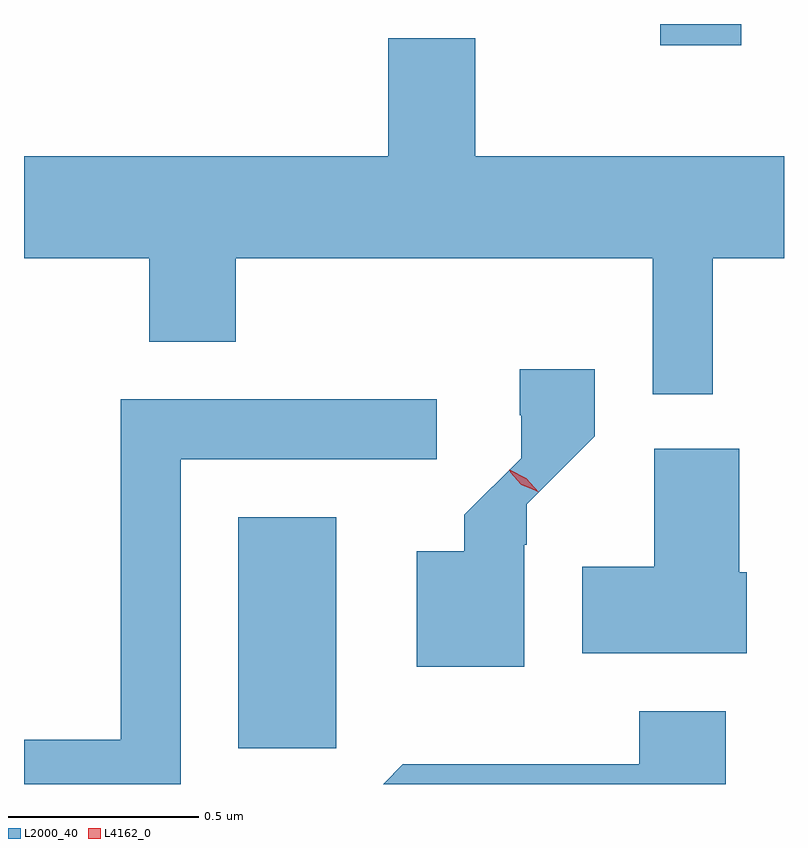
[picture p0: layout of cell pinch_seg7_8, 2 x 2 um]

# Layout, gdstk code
import gdstk
lib = gdstk.Library(unit=1e-6, precision=1e-09)
def R(c, l, rs):  # rectangles x0, y0, x1, y1
    for r in rs: c.add(gdstk.rectangle(r[:2], r[2:], *l))
def P(c, l, *ps):  # polygons
    for p in ps: c.add(gdstk.Polygon(p, *l))
L2000_40 = (2000, 40)
L4162_0 = (4162, 0)

pinch_seg7_8 = lib.new_cell('pinch_seg7_8')
R(pinch_seg7_8, L2000_40, [(1780.766,1781.846,1781.024,1782.454), (1781.876,1783.696,1782.089,1783.752)])
P(pinch_seg7_8, L2000_40, [(1782.014,1783.136),(1782.202,1783.136),(1782.202,1783.404),(1781.389,1783.404),(1781.389,1783.714),(1781.161,1783.714),(1781.161,1783.404),(1780.202,1783.404),(1780.202,1783.136),(1780.531,1783.136),(1780.531,1782.916),(1780.759,1782.916),(1780.759,1783.136),(1781.856,1783.136),(1781.856,1782.778),(1782.014,1782.778)],
  [(1781.519,1782.382),(1781.525,1782.382),(1781.525,1782.488),(1781.704,1782.667),(1781.704,1782.844),(1781.506,1782.844),(1781.506,1782.723),(1781.51,1782.723),(1781.51,1782.609),(1781.361,1782.46),(1781.361,1782.364),(1781.236,1782.364),(1781.236,1782.061),(1781.519,1782.061)],
  [(1780.614,1782.606),(1781.288,1782.606),(1781.288,1782.764),(1780.456,1782.764),(1780.456,1781.869),(1780.202,1781.869),(1780.202,1781.752),(1780.614,1781.752)],
  [(1782.104,1782.309),(1782.084,1782.309),(1782.084,1782.634),(1781.861,1782.634),(1781.861,1782.324),(1781.671,1782.324),(1781.671,1782.096),(1782.104,1782.096)],
  [(1782.049,1781.944),(1781.821,1781.944),(1781.821,1781.804),(1781.199,1781.804),(1781.147,1781.752),(1782.049,1781.752)])
P(pinch_seg7_8, L4162_0, [(1781.556,1782.52),(1781.512,1782.541),(1781.479,1782.578),(1781.479,1782.579),(1781.48,1782.579),(1781.524,1782.557),(1781.557,1782.52),(1781.557,1782.52)],
  [(1781.552,1782.523),(1781.511,1782.54),(1781.482,1782.573),(1781.482,1782.574),(1781.483,1782.574),(1781.523,1782.556),(1781.552,1782.524),(1781.552,1782.523)])

lib.write_gds('pinch_seg7_8.gds')
